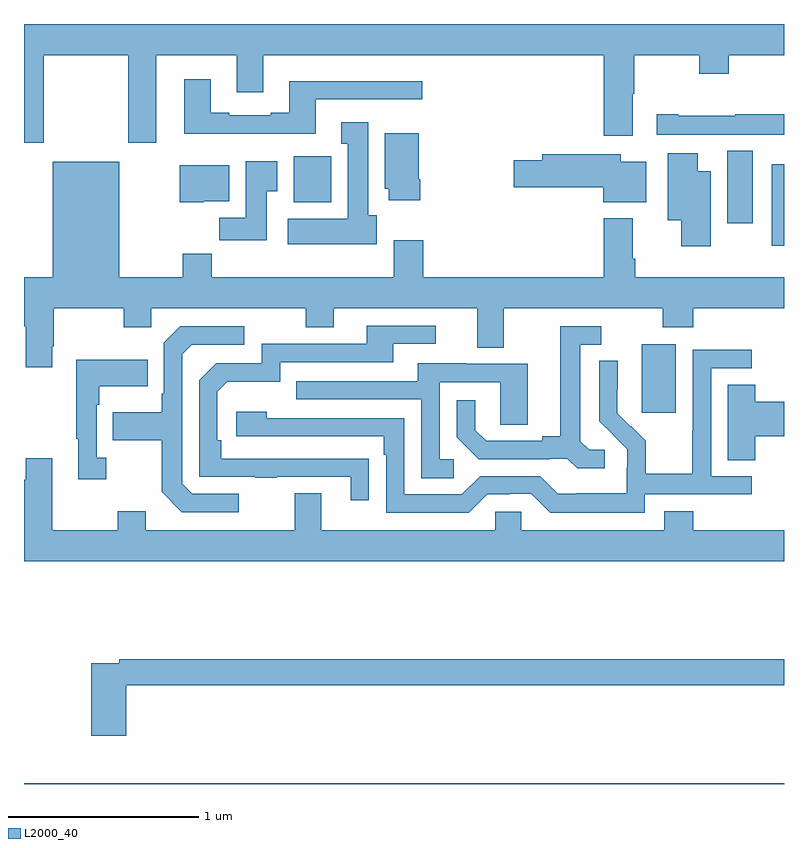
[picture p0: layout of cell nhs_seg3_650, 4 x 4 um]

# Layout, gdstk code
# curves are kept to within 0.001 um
import gdstk
lib = gdstk.Library(unit=1e-6, precision=1e-09)
def R(c, l, rs):  # rectangles x0, y0, x1, y1
    for r in rs: c.add(gdstk.rectangle(r[:2], r[2:], *l))
def P(c, l, *ps):  # polygons
    for p in ps: c.add(gdstk.Polygon(p, *l))
L2000_40 = (2000, 40)

nhs_seg3_650 = lib.new_cell('nhs_seg3_650')
R(nhs_seg3_650, L2000_40, [(143,710.4,147,710.404), (146.252,712.353,146.431,712.714), (146.936,713.232,147,713.662), (146.702,713.352,146.836,713.732), (144.419,713.462,144.616,713.704)])
P(nhs_seg3_650, L2000_40, [(143.103,714.236),(143.548,714.236),(143.548,713.775),(143.695,713.775),(143.695,714.236),(144.119,714.236),(144.119,714.042),(144.259,714.042),(144.259,714.236),(146.051,714.236),(146.051,713.811),(146.203,713.811),(146.203,714.032),(146.211,714.032),(146.211,714.236),(146.554,714.236),(146.554,714.137),(146.709,714.137),(146.709,714.236),(147,714.236),(147,714.4),(143,714.4),(143,713.775),(143.103,713.775)],
  [(144.535,714.003),(145.096,714.003),(145.096,714.1),(144.395,714.1),(144.395,713.932),(144.299,713.932),(144.299,713.919),(144.079,713.919),(144.079,713.932),(143.983,713.932),(143.983,714.109),(143.843,714.109),(143.843,713.822),(144.535,713.822)],
  [(147,713.926),(146.743,713.926),(146.743,713.916),(146.443,713.916),(146.443,713.926),(146.331,713.926),(146.331,713.817),(146.94,713.817),(146.94,713.816),(147,713.816)],
  [(144.856,713.394),(144.811,713.394),(144.811,713.884),(144.671,713.884),(144.671,713.771),(144.704,713.771),(144.704,713.374),(144.387,713.374),(144.387,713.24),(144.856,713.24)],
  [(145.086,713.584),(145.078,713.584),(145.078,713.824),(144.899,713.824),(144.899,713.532),(144.92,713.532),(144.92,713.472),(145.086,713.472)],
  [(146.614,713.626),(146.545,713.626),(146.545,713.719),(146.387,713.719),(146.387,713.366),(146.459,713.366),(146.459,713.229),(146.614,713.229)],
  [(146.275,713.674),(146.142,713.674),(146.142,713.714),(145.727,713.714),(145.727,713.684),(145.578,713.684),(145.578,713.542),(146.048,713.542),(146.048,713.462),(146.275,713.462)],
  [(144.277,713.521),(144.334,713.521),(144.334,713.677),(144.167,713.677),(144.167,713.38),(144.028,713.38),(144.028,713.262),(144.277,713.262)],
  [(143.149,712.705),(143.157,712.705),(143.157,712.904),(143.524,712.904),(143.524,712.805),(143.67,712.805),(143.67,712.904),(144.484,712.904),(144.484,712.805),(144.631,712.805),(144.631,712.904),(145.385,712.904),(145.385,712.696),(145.525,712.696),(145.525,712.904),(146.362,712.904),(146.362,712.805),(146.522,712.805),(146.522,712.904),(147,712.904),(147,713.068),(146.216,713.068),(146.216,713.164),(146.203,713.164),(146.203,713.377),(146.051,713.377),(146.051,713.068),(145.1,713.068),(145.1,713.263),(144.947,713.263),(144.947,713.068),(143.987,713.068),(143.987,713.192),(143.836,713.192),(143.836,713.068),(143.5,713.068),(143.5,713.674),(143.15,713.674),(143.15,713.068),(143,713.068),(143,712.808),(143.009,712.808),(143.009,712.593),(143.149,712.593)],
  [(143.946,713.468),(144.079,713.468),(144.079,713.656),(143.821,713.656),(143.821,713.462),(143.946,713.462)],
  [(144.815,712.112),(144.038,712.113),(144.038,712.21),(144.018,712.21),(144.018,712.464),(144.071,712.517),(144.348,712.517),(144.348,712.62),(144.943,712.62),(144.943,712.716),(145.168,712.716),(145.168,712.812),(144.803,712.812),(144.803,712.716),(144.252,712.716),(144.252,712.614),(144.012,712.614),(143.922,712.524),(143.922,712.017),(144.217,712.017),(144.217,712.012),(144.329,712.012),(144.329,712.017),(144.719,712.017),(144.719,711.894),(144.815,711.894)],
  [(144.13,711.927),(143.886,711.927),(143.832,711.981),(143.832,712.662),(143.883,712.713),(144.16,712.713),(144.16,712.809),(143.823,712.809),(143.736,712.722),(143.736,712.453),(143.724,712.453),(143.724,712.357),(143.467,712.357),(143.467,712.21),(143.724,712.21),(143.724,711.937),(143.829,711.831),(144.13,711.831)],
  [(146.056,712.158),(145.974,712.158),(145.927,712.205),(145.927,712.713),(146.038,712.713),(146.038,712.809),(145.823,712.809),(145.823,712.229),(145.727,712.229),(145.727,712.206),(145.432,712.206),(145.375,712.263),(145.375,712.42),(145.278,712.42),(145.278,712.226),(145.394,712.11),(145.766,712.11),(145.766,712.113),(145.86,712.113),(145.912,712.061),(146.056,712.061)],
  [(146.268,711.924),(146.83,711.924),(146.83,712.02),(146.616,712.02),(146.616,712.587),(146.83,712.587),(146.83,712.686),(146.52,712.686),(146.52,712.256),(146.518,712.256),(146.518,712.033),(146.273,712.033),(146.273,712.207),(146.196,712.284),(146.193,712.281),(146.123,712.352),(146.124,712.628),(146.028,712.628),(146.028,712.31),(146.174,712.162),(146.174,712.065),(146.172,712.065),(146.172,711.931),(145.909,711.931),(145.909,711.927),(145.809,711.927),(145.716,712.02),(145.401,712.02),(145.305,711.924),(145.002,711.924),(145.002,712.326),(144.278,712.326),(144.278,712.36),(144.117,712.36),(144.117,712.23),(144.893,712.23),(144.893,712.133),(144.906,712.133),(144.906,711.828),(145.341,711.828),(145.437,711.924),(145.556,711.924),(145.556,711.927),(145.671,711.927),(145.771,711.827),(146.268,711.827)],
  [(143.434,712.118),(143.382,712.118),(143.382,712.397),(143.395,712.397),(143.395,712.493),(143.651,712.493),(143.651,712.633),(143.274,712.633),(143.274,712.217),(143.285,712.217),(143.285,712.005),(143.434,712.005)],
  [(145.261,712.11),(145.188,712.11),(145.188,712.515),(145.506,712.515),(145.506,712.291),(145.651,712.291),(145.651,712.611),(145.327,712.611),(145.327,712.615),(145.073,712.615),(145.073,712.521),(144.433,712.521),(144.433,712.425),(145.092,712.425),(145.092,712.009),(145.261,712.009)],
  [(146.849,712.229),(147,712.229),(147,712.412),(146.849,712.412),(146.849,712.502),(146.705,712.502),(146.705,712.105),(146.849,712.105)],
  [(147,711.736),(146.522,711.736),(146.522,711.835),(146.369,711.835),(146.369,711.736),(145.617,711.736),(145.617,711.834),(145.479,711.834),(145.479,711.736),(144.565,711.736),(144.565,711.931),(144.425,711.931),(144.425,711.736),(143.641,711.736),(143.641,711.835),(143.494,711.835),(143.494,711.736),(143.149,711.736),(143.149,712.114),(143.009,712.114),(143.009,712.001),(143,712.001),(143,711.572),(147,711.572)],
  [(143.537,710.92),(147,710.92),(147,711.056),(143.5,711.056),(143.5,711.036),(143.354,711.036),(143.354,710.655),(143.537,710.655)])

lib.write_gds('nhs_seg3_650.gds')
